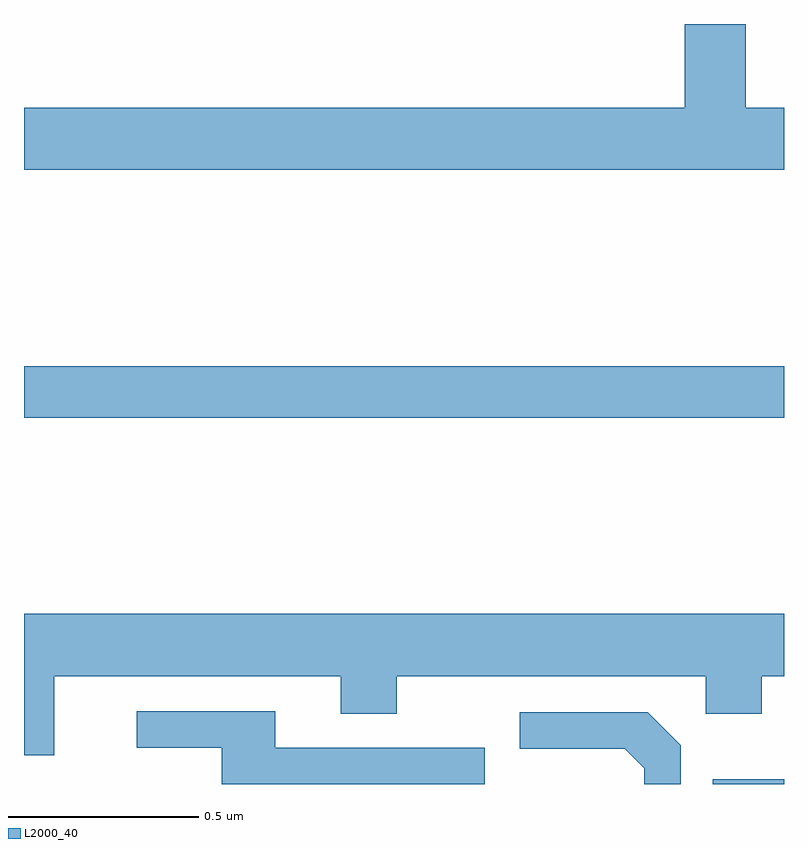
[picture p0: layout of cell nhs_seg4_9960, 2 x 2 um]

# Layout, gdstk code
import gdstk
lib = gdstk.Library(unit=1e-6, precision=1e-09)
def R(c, l, rs):  # rectangles x0, y0, x1, y1
    for r in rs: c.add(gdstk.rectangle(r[:2], r[2:], *l))
def P(c, l, *ps):  # polygons
    for p in ps: c.add(gdstk.Polygon(p, *l))
L2000_40 = (2000, 40)

nhs_seg4_9960 = lib.new_cell('nhs_seg4_9960')
R(nhs_seg4_9960, L2000_40, [(235.813,765.9,236,765.913), (234,766.864,236,767)])
P(nhs_seg4_9960, L2000_40, [(236,767.68),(235.899,767.68),(235.899,767.9),(235.739,767.9),(235.739,767.68),(234,767.68),(234,767.516),(236,767.516)],
  [(234.079,766.184),(234.833,766.184),(234.833,766.085),(234.981,766.085),(234.981,766.184),(235.794,766.184),(235.794,766.085),(235.941,766.085),(235.941,766.184),(236,766.184),(236,766.348),(234,766.348),(234,765.976),(234.079,765.976)],
  [(235.212,765.996),(234.661,765.996),(234.661,766.092),(234.297,766.092),(234.297,765.996),(234.521,765.996),(234.521,765.9),(235.212,765.9)],
  [(235.728,766.002),(235.641,766.089),(235.305,766.089),(235.305,765.993),(235.581,765.993),(235.632,765.942),(235.632,765.9),(235.728,765.9)])

lib.write_gds('nhs_seg4_9960.gds')
